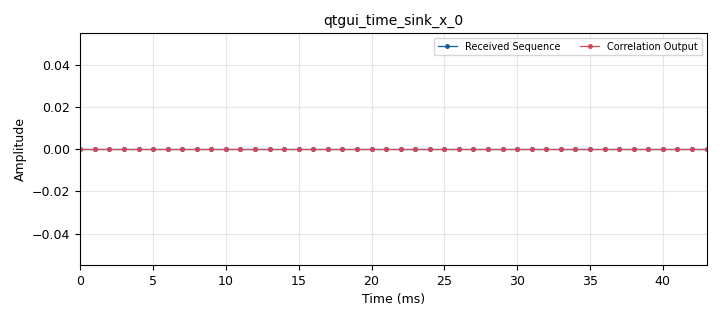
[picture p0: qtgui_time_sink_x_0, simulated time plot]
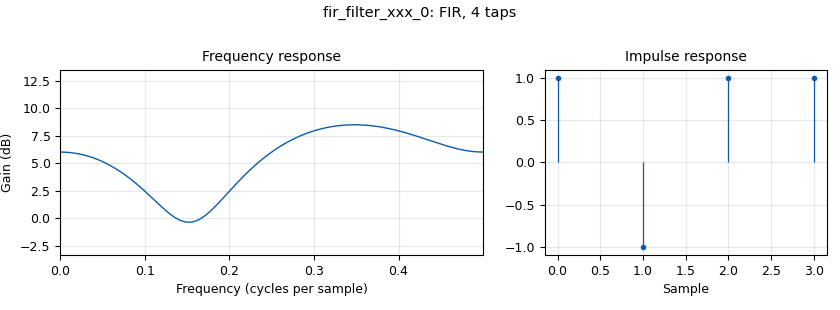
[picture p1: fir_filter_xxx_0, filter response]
options:
  parameters:
    generate_options: qt_gui
    id: exp3
    output_language: python
    title: Mismatched Pattern
  states: {}

blocks:
- name: samp_rate
  id: variable
  parameters:
    value: '1000'
  states: {}
- name: blocks_vector_source_x_0
  id: blocks_vector_source_x
  parameters:
    repeat: 'False'
    type: float
    vector: (0,)*20 + (1, -1, -1, 1) + (0,)*76
  states: {}
- name: fir_filter_xxx_0
  id: fir_filter_xxx
  parameters:
    decim: '1'
    taps: ' (1, -1, 1, 1)'
    type: fff
  states: {}
- name: qtgui_time_sink_x_0
  id: qtgui_time_sink_x
  parameters:
    autoscale: 'True'
    grid: 'True'
    label1: Received Sequence
    label2: Correlation Output
    marker1: '0'
    marker2: '0'
    nconnections: '2'
    size: '44'
    srate: samp_rate
    style2: '3'
    tr_level: '0'
    type: float
  states: {}

connections:
- [blocks_vector_source_x_0, '0', fir_filter_xxx_0, '0']
- [blocks_vector_source_x_0, '0', qtgui_time_sink_x_0, '0']
- [fir_filter_xxx_0, '0', qtgui_time_sink_x_0, '1']

metadata:
  file_format: 1
  grc_version: 3.10.12.0
